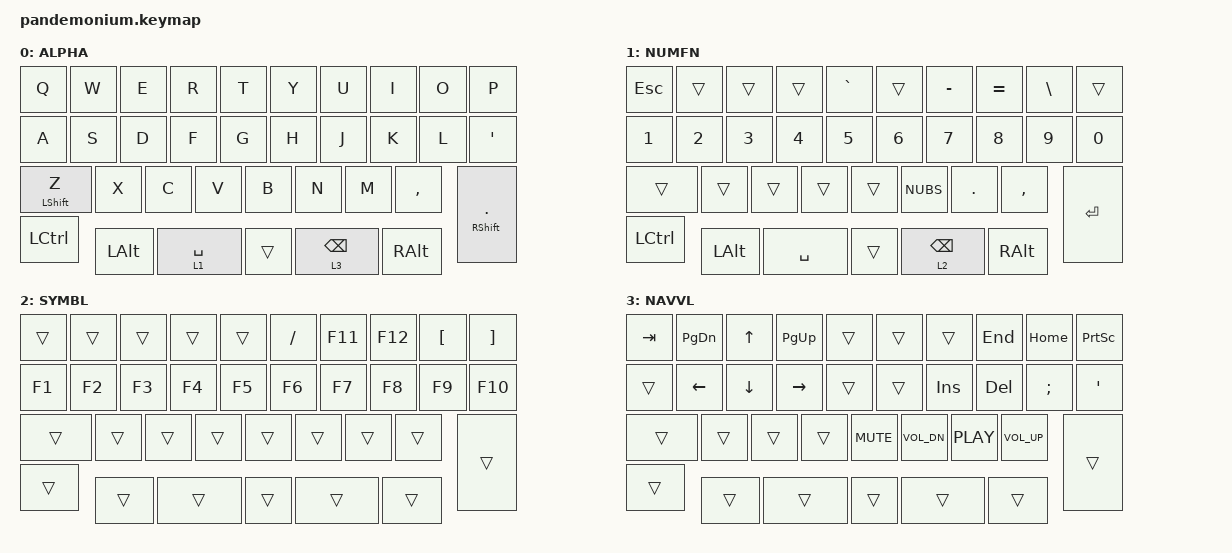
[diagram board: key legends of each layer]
/*
 * Copyright (c) 2020 The ZMK Contributors
 *
 * SPDX-License-Identifier: MIT
 */

#include <behaviors.dtsi>
#include <dt-bindings/zmk/keys.h>
#include <dt-bindings/zmk/bt.h>

#define ALPHA 0
#define NUMFN 1
#define SYMBL 2
#define NAVVL 3

/ {
    behaviors {
        hm: homerow_mods {
            compatible = "zmk,behavior-hold-tap";
            label = "homerow mods";
            #binding-cells = <2>;
            tapping-term-ms = <225>;
            flavor = "tap-preferred";
            bindings = <&kp>, <&kp>;
        };
    };
};

/ {
    macros {
        SECT: SECT {
            label = "SECT";
            compatible = "zmk,behavior-macro";
            #binding-cells = <0>;
            bindings
				= <&macro_tap &kp N0 &kp N0 &kp N0 &kp A &kp N7>
				, <&macro_press &kp LALT>
				, <&macro_tap &kp X>
				, <&macro_release &kp LALT>
			;
        };
    };
};

/ {
    keymap {
        compatible = "zmk,keymap";

        ALPHA {
            bindings = <
    &kp Q      &kp W       &kp E         &kp R        &kp T        &kp Y     &kp U         &kp I         &kp O       &kp P
    &kp A    &kp S  &kp D  &kp F  &kp G        &kp H     &kp J  &kp K  &kp L  &kp  APOS
    &mt LSHIFT Z      &kp X       &kp C         &kp V        &kp B        &kp N     &kp M         &kp COMMA     &mt RSHIFT DOT
	&kp LCTRL  &kp LALT    &lt 1 SPACE    &trans      &lt 3 BSPC  &kp RALT
            >;
        };
		
        NUMFN {
            bindings = <
    &kp ESC     &trans    &trans    &trans    &kp GRAVE     &trans    &kp MINUS           &kp EQUAL        &kp BSLH         &trans
    &kp N1     &kp N2    &kp N3    &kp N4    &kp N5     &kp N6    &kp N7           &kp N8   &kp N9      &kp N0
    &trans     &trans    &trans    &trans   &trans    &kp NUBS   &kp DOT  &kp COMMA  &kp RETURN
	&kp LCTRL  &kp LALT  &kp SPACE  &trans  &lt 2 BSPC  &kp RALT
            >;
        };
		
        SYMBL {
            bindings = <
    &trans  &trans  &trans   &trans  &trans  &kp FSLH  &kp F11     &kp F12     &kp LBKT       &kp RBKT
    &kp F1  &kp F2   &kp F3  &kp F4    &kp F5     &kp F6  &kp F7  &kp F8  &kp F9    &kp F10
    &trans    &trans   &trans  &trans    &trans     &trans    &trans       &trans       &trans
	&trans    &trans   &trans  &trans  &trans     &trans
            >;
        };
		
        NAVVL {
            bindings = <
    &kp TAB    &kp PG_DN    &kp UP     &kp PG_UP   &trans  &trans      &trans     &kp END        &kp HOME  &kp PSCRN
    &trans  &kp LEFT  &kp DOWN  &kp RIGHT   &trans  &trans    &kp INS     &kp DEL       &kp SEMI   &kp APOS
    &trans    &trans    &trans     &trans   &kp C_MUTE  &kp C_VOL_DN  &kp C_PLAY  &kp C_VOL_UP  &trans
    &trans    &trans    &trans    &trans  &trans  &trans
            >;
        };
    };
};
